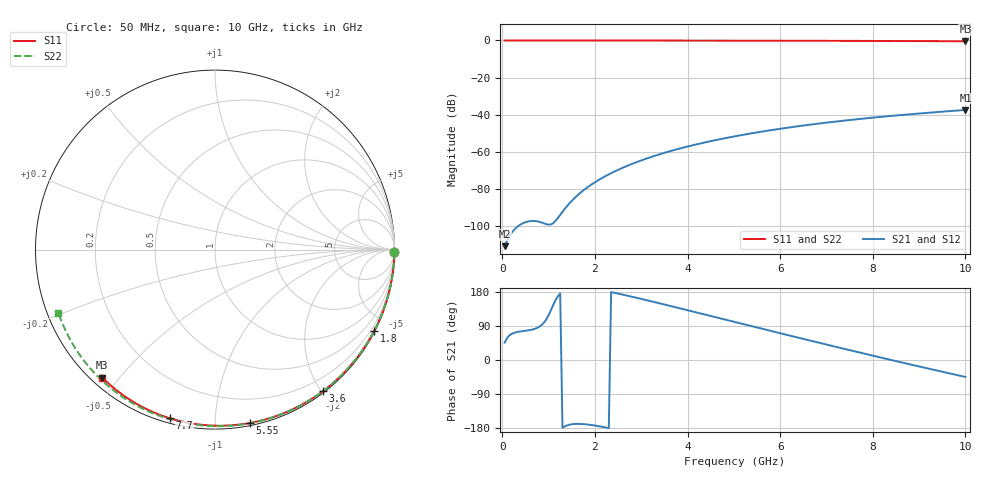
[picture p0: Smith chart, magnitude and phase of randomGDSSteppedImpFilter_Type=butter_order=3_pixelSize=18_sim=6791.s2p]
! freq	dB(S11)	phase(S11)	dB(S12)	phase(S12)
!  dB(S21)	phase(S21)	dB(S22)	phase(S22)
!S-par simulation data
#  GHz  S  DB  R 50
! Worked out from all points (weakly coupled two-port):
!   200 points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, 50 MHz to 10 GHz, reference 50 ohm
!   highest |S21| = -37.51 dB at 10 GHz (marker M1); lowest = -111.1 dB at 50 MHz (marker M2)
!   lowest |S11| = -0.4 dB at 10 GHz (marker M3), VSWR 39.14, Z = 1.54 - j22.6 ohm
!   |S11| at or under -10 dB: nowhere
!   |S22| runs from -0.5 to 0.0 dB; largest |S21 - S12| = 0
!   S11 on the Smith chart (normalised r, x): 50 MHz: open; 1.8 GHz: 0.04, -4.18; 3.6 GHz: 0.02, -2.02; 5.55 GHz: 0.02, -1.22; 7.7 GHz: 0.02, -0.77; 10 GHz: 0.03, -0.45
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0.05  -0.00 -0.8  -111.06 45.7  -111.06 45.7  -0.00 -0.9
0.45  -0.01 -6.8  -98.62 76.3  -98.62 76.3  -0.01 -8.2
0.85  -0.02 -12.8  -98.30 92.4  -98.30 92.4  -0.02 -15.5
1.3  -0.02 -19.5  -92.48 -178.9  -92.48 -178.9  -0.03 -23.6
1.75  -0.03 -26.2  -80.96 -169.2  -80.96 -169.2  -0.04 -31.5
1.8  -0.03 -26.9  -80.00 -169.7  -80.00 -169.7  -0.04 -32.4
1.95  -0.04 -29.1  -77.37 -172.0  -77.37 -172.0  -0.04 -35.1
2.1  -0.04 -31.3  -75.04 -175.0  -75.04 -175.0  -0.05 -37.7
2.3  -0.04 -34.2  -72.28 -179.6  -72.28 -179.6  -0.05 -41.2
2.5  -0.05 -37.1  -69.85 175.2  -69.85 175.2  -0.06 -44.6
2.9  -0.06 -42.8  -65.69 164.1  -65.69 164.1  -0.07 -51.4
3.4  -0.07 -49.9  -61.43 149.5  -61.43 149.5  -0.08 -59.8
3.6  -0.07 -52.6  -59.95 143.5  -59.95 143.5  -0.08 -63.1
4.3  -0.09 -62.2  -55.48 122.2  -55.48 122.2  -0.11 -74.5
5.05  -0.11 -72.2  -51.62 99.4  -51.62 99.4  -0.13 -86.2
5.55  -0.13 -78.6  -49.44 84.2  -49.44 84.2  -0.15 -93.8
6.1  -0.15 -85.6  -47.32 67.6  -47.32 67.6  -0.18 -102.1
6.7  -0.18 -93.0  -45.29 49.7  -45.29 49.7  -0.22 -110.9
7.7  -0.24 -105.0  -42.42 20.2  -42.42 20.2  -0.29 -125.2
8.35  -0.29 -112.6  -40.84 1.4  -40.84 1.4  -0.34 -134.5
9.2  -0.36 -122.3  -39.03 -22.7  -39.03 -22.7  -0.43 -146.6
10  -0.44 -131.4  -37.51 -44.7  -37.51 -44.7  -0.53 -158.1
